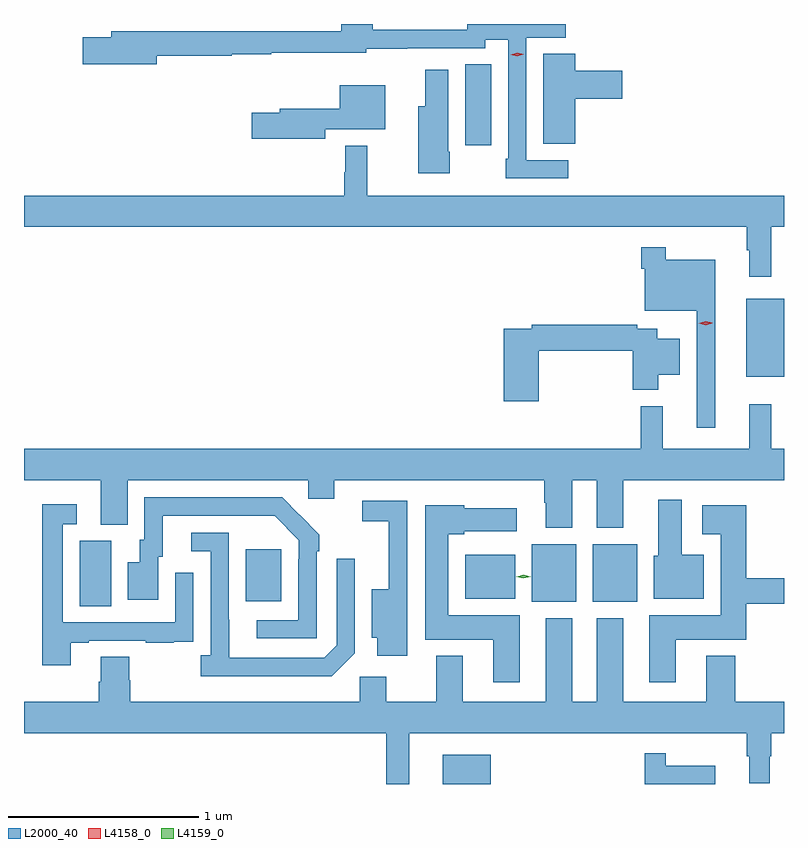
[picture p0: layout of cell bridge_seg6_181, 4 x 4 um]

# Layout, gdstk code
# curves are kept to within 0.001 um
import gdstk
lib = gdstk.Library(unit=1e-6, precision=1e-09)
def R(c, l, rs):  # rectangles x0, y0, x1, y1
    for r in rs: c.add(gdstk.rectangle(r[:2], r[2:], *l))
def P(c, l, *ps):  # polygons
    for p in ps: c.add(gdstk.Polygon(p, *l))
L2000_40 = (2000, 40)
L4158_0 = (4158, 0)
L4159_0 = (4159, 0)

bridge_seg6_181 = lib.new_cell('bridge_seg6_181')
R(bridge_seg6_181, L2000_40, [(290.663,945.736,290.914,945.889), (288.752,946.672,288.916,947.016), (291.131,946.694,291.364,946.999), (291.452,946.694,291.685,946.999), (289.625,946.697,289.813,946.972), (290.78,946.712,291.043,946.942), (292.259,947.879,292.458,948.289), (290.78,949.098,290.917,949.523)])
P(bridge_seg6_181, L2000_40, [(291.322,949.02),(291.102,949.02),(291.102,949.664),(291.31,949.664),(291.31,949.736),(290.79,949.736),(290.79,949.706),(290.294,949.706),(290.294,949.736),(290.129,949.736),(290.129,949.699),(288.917,949.699),(288.917,949.665),(288.768,949.665),(288.768,949.523),(289.156,949.523),(289.156,949.57),(289.552,949.57),(289.552,949.578),(289.759,949.578),(289.759,949.585),(290.259,949.585),(290.259,949.607),(290.474,949.607),(290.474,949.608),(290.886,949.608),(290.886,949.652),(291.006,949.652),(291.006,949.027),(290.994,949.027),(290.994,948.924),(291.322,948.924)],
  [(291.358,949.343),(291.607,949.343),(291.607,949.49),(291.358,949.49),(291.358,949.579),(291.191,949.579),(291.191,949.105),(291.358,949.105)],
  [(290.7,949.063),(290.692,949.063),(290.692,949.495),(290.57,949.495),(290.57,949.303),(290.534,949.303),(290.534,948.951),(290.7,948.951)],
  [(290.044,949.181),(290.359,949.181),(290.359,949.414),(290.12,949.414),(290.12,949.291),(289.805,949.291),(289.805,949.269),(289.656,949.269),(289.656,949.132),(290.044,949.132)],
  [(292.391,948.668),(292.458,948.668),(292.458,948.832),(290.264,948.832),(290.264,949.096),(290.148,949.096),(290.148,948.956),(290.143,948.956),(290.143,948.832),(288.458,948.832),(288.458,948.668),(292.263,948.668),(292.263,948.545),(292.274,948.545),(292.274,948.405),(292.391,948.405)],
  [(292.096,948.496),(291.835,948.496),(291.835,948.562),(291.706,948.562),(291.706,948.449),(291.726,948.449),(291.726,948.227),(291.999,948.227),(291.999,947.61),(292.096,947.61)],
  [(291.167,948.016),(291.662,948.016),(291.662,947.81),(291.796,947.81),(291.796,947.891),(291.91,947.891),(291.91,948.079),(291.79,948.079),(291.79,948.132),(291.686,948.132),(291.686,948.152),(291.13,948.152),(291.13,948.132),(290.984,948.132),(290.984,947.751),(291.167,947.751)],
  [(288.458,947.336),(288.863,947.336),(288.863,947.101),(289.003,947.101),(289.003,947.336),(289.953,947.336),(289.953,947.238),(290.092,947.238),(290.092,947.336),(291.196,947.336),(291.196,947.216),(291.203,947.216),(291.203,947.084),(291.343,947.084),(291.343,947.336),(291.473,947.336),(291.473,947.084),(291.613,947.084),(291.613,947.336),(292.458,947.336),(292.458,947.5),(292.391,947.5),(292.391,947.734),(292.274,947.734),(292.274,947.5),(291.821,947.5),(291.821,947.725),(291.703,947.725),(291.703,947.5),(288.458,947.5)],
  [(289.998,946.961),(290.013,946.961),(290.013,947.049),(289.816,947.244),(289.092,947.244),(289.092,947.022),(289.067,947.022),(289.067,946.903),(289.004,946.903),(289.004,946.707),(289.165,946.707),(289.165,946.932),(289.189,946.932),(289.189,947.148),(289.777,947.148),(289.905,947.019),(289.905,946.919),(289.902,946.919),(289.902,946.599),(289.683,946.599),(289.683,946.503),(289.998,946.503)],
  [(292.036,946.942),(291.919,946.942),(291.919,947.233),(291.797,947.233),(291.797,946.938),(291.773,946.938),(291.773,946.712),(292.036,946.712)],
  [(290.476,946.658),(290.475,946.658),(290.475,947.226),(290.238,947.226),(290.238,947.118),(290.378,947.118),(290.378,946.762),(290.288,946.762),(290.288,946.505),(290.318,946.505),(290.318,946.41),(290.476,946.41)],
  [(288.703,946.479),(288.799,946.479),(288.799,946.491),(289.099,946.491),(289.099,946.479),(289.247,946.479),(289.247,946.485),(289.349,946.485),(289.349,946.594),(289.35,946.594),(289.35,946.849),(289.254,946.849),(289.254,946.587),(288.663,946.587),(288.663,947.103),(288.736,947.103),(288.736,947.209),(288.555,947.209),(288.555,946.362),(288.703,946.362)],
  [(291.889,946.496),(292.259,946.496),(292.259,946.684),(292.458,946.684),(292.458,946.82),(292.259,946.82),(292.259,947.203),(292.029,947.203),(292.029,947.051),(292.124,947.051),(292.124,946.624),(291.749,946.624),(291.749,946.272),(291.889,946.272)],
  [(291.067,946.624),(290.692,946.624),(290.692,947.051),(290.775,947.051),(290.775,947.066),(291.052,947.066),(291.052,947.188),(290.775,947.188),(290.775,947.203),(290.57,947.203),(290.57,946.496),(290.927,946.496),(290.927,946.272),(291.067,946.272)],
  [(290.199,946.425),(290.199,946.921),(290.103,946.921),(290.103,946.467),(290.037,946.401),(289.537,946.401),(289.536,947.058),(289.338,947.058),(289.338,946.962),(289.44,946.962),(289.44,946.414),(289.389,946.414),(289.389,946.304),(290.078,946.304)],
  [(290.485,946.004),(292.263,946.004),(292.263,945.881),(292.274,945.881),(292.274,945.741),(292.384,945.741),(292.384,945.881),(292.391,945.881),(292.391,946.004),(292.458,946.004),(292.458,946.168),(292.202,946.168),(292.202,946.411),(292.049,946.411),(292.049,946.168),(291.613,946.168),(291.613,946.609),(291.473,946.609),(291.473,946.168),(291.343,946.168),(291.343,946.609),(291.203,946.609),(291.203,946.168),(290.767,946.168),(290.767,946.411),(290.627,946.411),(290.627,946.168),(290.365,946.168),(290.365,946.3),(290.226,946.3),(290.226,946.168),(289.016,946.168),(289.016,946.281),(289.011,946.281),(289.011,946.406),(288.863,946.406),(288.863,946.274),(288.851,946.274),(288.851,946.168),(288.458,946.168),(288.458,946.004),(290.364,946.004),(290.364,945.736),(290.485,945.736)],
  [(292.096,945.832),(291.835,945.832),(291.835,945.898),(291.725,945.898),(291.725,945.736),(292.096,945.736)])
P(bridge_seg6_181, L4158_0, [(291.054,949.566),(291.019,949.575),(291.018,949.575),(291.019,949.575),(291.053,949.586),(291.088,949.578),(291.088,949.578),(291.088,949.577)],
  [(292.046,948.151),(292.01,948.16),(292.009,948.16),(292.01,948.16),(292.045,948.171),(292.081,948.163),(292.081,948.163),(292.081,948.162)])
P(bridge_seg6_181, L4159_0, [(291.086,946.818),(291.048,946.828),(291.047,946.828),(291.048,946.828),(291.087,946.838),(291.125,946.828),(291.126,946.828),(291.125,946.827)])

lib.write_gds('bridge_seg6_181.gds')
